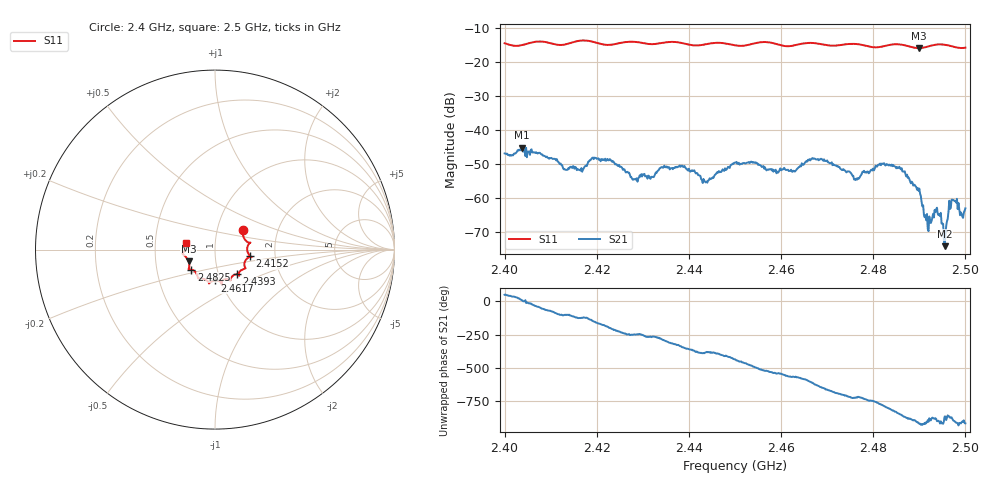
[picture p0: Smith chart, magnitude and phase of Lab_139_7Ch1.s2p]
# Hz S RI R 50
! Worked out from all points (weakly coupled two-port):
!   601 points, 2.4 GHz to 2.5 GHz, reference 50 ohm
!   highest |S21| = -45.10 dB at 2.4038 GHz (marker M1); lowest = -74.0 dB at 2.4955 GHz (marker M2)
!   lowest |S11| = -15.9 dB at 2.4898 GHz (marker M3), VSWR 1.38, Z = 36.9 - j4.9 ohm
!   |S11| at or under -10 dB: start of sweep to end of sweep
!   S12 and S22 are empty: the file has one direction only
!   S11 on the Smith chart (normalised r, x): 2.4 GHz: 1.33, +0.30; 2.4152 GHz: 1.48, -0.11; 2.4393 GHz: 1.23, -0.35; 2.4617 GHz: 0.94, -0.33; 2.4825 GHz: 0.75, -0.17; 2.5 GHz: 0.72, +0.05
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2.4e9  0.1551 0.1094  0.00303 0.00342  0 0  0 0
2.403833e9  0.1718 0.0509  0.00552 0.000709  0 0  0 0
2.415167e9  0.196 -0.0365  -0.00126 -0.00241  0 0  0 0
2.416667e9  0.2039 -0.042  -0.00156 -0.00232  0 0  0 0
2.4195e9  0.1925 -0.0414  -0.00354 -0.00178  0 0  0 0
2.428333e9  0.1691 -0.1047  -0.000641 0.00182  0 0  0 0
2.433333e9  0.1327 -0.133  0.000247 0.00257  0 0  0 0
2.439333e9  0.1237 -0.1381  0.00272 0.000296  0 0  0 0
2.4435e9  0.0881 -0.16  0.00159 -0.000767  0 0  0 0
2.45e9  0.0666 -0.1642  0.000837 -0.00325  0 0  0 0
2.461667e9  0.00105 -0.1718  -0.0023 0.00102  0 0  0 0
2.466667e9  -0.0336 -0.189  -0.00137 0.00359  0 0  0 0
2.476333e9  -0.0942 -0.1592  0.00195 -3.04e-05  0 0  0 0
2.4825e9  -0.1324 -0.1112  0.00111 -0.00292  0 0  0 0
2.483333e9  -0.14 -0.1103  0.000428 -0.00301  0 0  0 0
2.486333e9  -0.146 -0.1054  -0.00185 -0.00167  0 0  0 0
2.489833e9  -0.1476 -0.0647  -0.00126 0.00031  0 0  0 0
2.4915e9  -0.1621 -0.0416  -0.000474 5.05e-05  0 0  0 0
2.493833e9  -0.1802 -0.0244  -0.00073 -1.16e-05  0 0  0 0
2.4955e9  -0.1796 -0.0192  -0.000161 -0.000117  0 0  0 0
2.497e9  -0.1718 -0.00997  -0.00083 -0.000476  0 0  0 0
2.5e9  -0.1595 0.0355  -0.000686 0.000198  0 0  0 0
